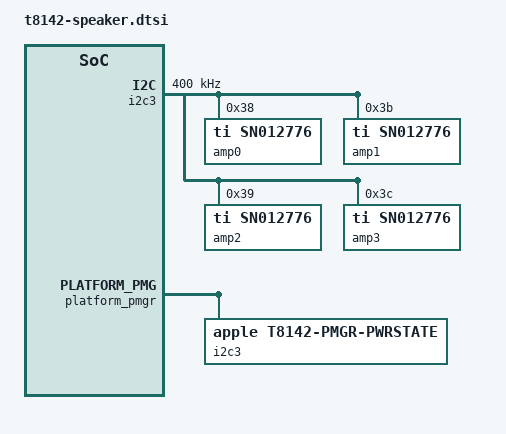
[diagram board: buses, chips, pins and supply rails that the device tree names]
// SPDX-License-Identifier: GPL-2.0-only
/* J813 ADT speaker resources. Four-channel playback is qualified with tones and music.
 * Native codec ownership is selected by the board include order below.
 */
&{/soc} {
	pinctrl_ap: pinctrl@39a000000 {
		compatible = "apple,t8142-pinctrl", "apple,t8103-pinctrl";
		reg = <3 0x9a000000 0 0x100000>;
		gpio-controller;
		#gpio-cells = <2>;
		gpio-ranges = <&pinctrl_ap 0 0 224>;
		gpio-reserved-ranges = <78 1 203 1>;
		apple,npins = <224>;
		interrupt-controller;
		#interrupt-cells = <2>;
		interrupt-parent = <&aic>;
		interrupts = <0 347 4>, <0 348 4>, <0 349 4>, <0 350 4>,
			     <0 351 4>, <0 352 4>, <0 353 4>;
		i2c3_pins: i2c3-pins {
			/* APPLE_PINMUX(pin, 1), SCL43 / SDA42 from J813 ADT. */
			pinmux = <0x1002b>, <0x1002a>;
		};
	};
	i2c3: i2c@3a501c000 {
		compatible = "apple,t8142-i2c", "apple,t8103-i2c";
		reg = <3 0xa501c000 0 0x4000>;
		clocks = <&clkref>;
		clock-frequency = <400000>;
		interrupt-parent = <&aic>;
		interrupts = <0 1250 4>;
		power-domains = <&ps_i2c3>;
		pinctrl-0 = <&i2c3_pins>;
		pinctrl-names = "default";
		#address-cells = <1>;
		#size-cells = <0>;
		/* The board sound card owns the common reset line. */
		amp0: amplifier@38 {
			compatible = "ti,sn012776";
			reg = <0x38>;
			#sound-dai-cells = <0>;
			ti,vmon-slot-no = <0>;
			ti,imon-slot-no = <2>;
		};
		amp1: amplifier@3b {
			compatible = "ti,sn012776";
			reg = <0x3b>;
			#sound-dai-cells = <0>;
			ti,vmon-slot-no = <4>;
			ti,imon-slot-no = <6>;
		};
		amp2: amplifier@39 {
			compatible = "ti,sn012776";
			reg = <0x39>;
			#sound-dai-cells = <0>;
			ti,vmon-slot-no = <8>;
			ti,imon-slot-no = <10>;
		};
		amp3: amplifier@3c {
			compatible = "ti,sn012776";
			reg = <0x3c>;
			#sound-dai-cells = <0>;
			ti,vmon-slot-no = <12>;
			ti,imon-slot-no = <14>;
		};
	};
	aop_speaker: speaker@393800000 {
		compatible = "apple,t8142-speaker";
		num-channels = <4>;
		/* Provisional binding: byte offset in ADMAC TX SRAM. ADT base=256. */
		apple,tx-sram-base = <256>;
		reg = <3 0x93800000 0 0x34000>;
		/* A bounded AP DMA window inside SID8's ADT aperture. */
		iommus = <&aop_dart 8 0x100 0x40000000 0 0xffff0000>;
		apple,aop = <&aop_audio>;
		enable-gpios = <&pinctrl_ap 151 0>;
		interrupt-parent = <&aic>;
		interrupts = <0 549 4>;
	};
};

&platform_pmgr {
	ps_i2c3: power-controller@360 {
		compatible = "apple,t8142-pmgr-pwrstate", "apple,t8103-pmgr-pwrstate";
		reg = <0x360 4>;
		#power-domain-cells = <0>;
		#reset-cells = <0>;
		label = "i2c3";
		/* ADT ancestors SIO/AFISOCNI2 are virtual no_ps devices. */
	};
};
